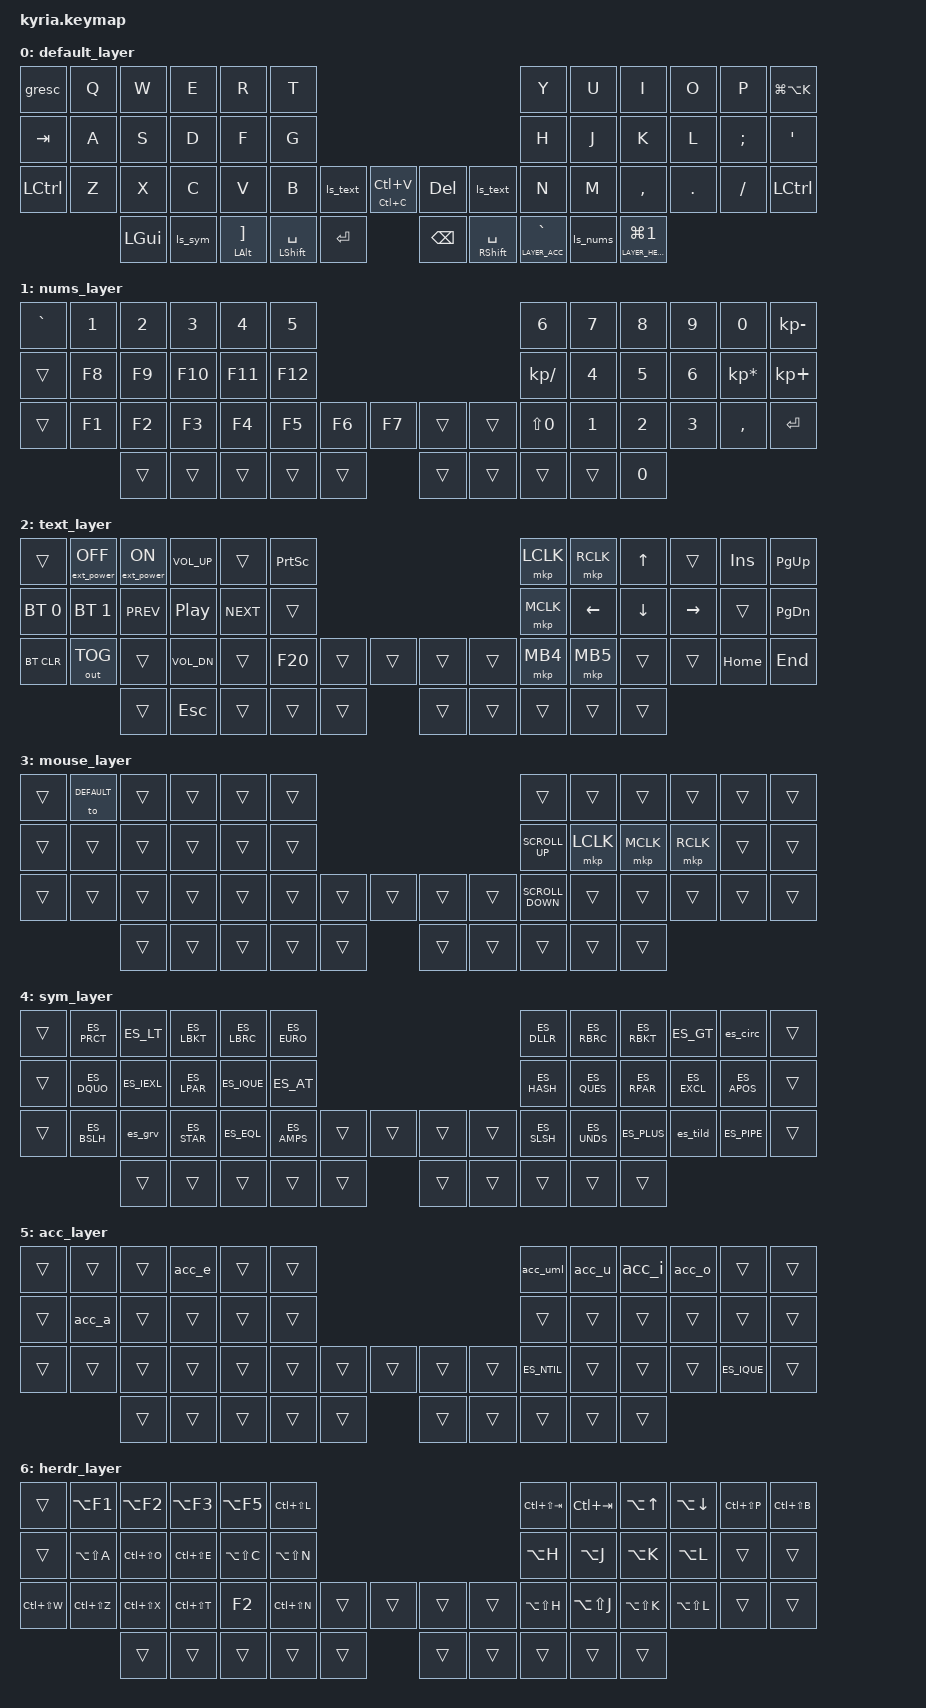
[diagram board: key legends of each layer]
#define DEFAULT 0
// Lo que sale con la distribución española del sistema (entre paréntesis, el keycode US).
// MUTE = Win+Alt+K: silencia/activa el micro de la llamada de Teams aunque Teams no esté delante (sustituye a ç, que no se usa).
// ---------------------------------------------------------------------------------------------------------------------------------
// | ESC  |  Q  |  W  |  E   |  R  |  T    |                                                      |    Y    |   U   |  I    |  O   |   P   | MUTE  |
// | TAB  |  A  |  S  |  D   |  F  |  G    |                                                      |    H    |   J   |  K    |  L   | ñ(;)  | ´(') |
// | CTRL |  Z  |  X  |  C   |  V  |  B    |  *TEXT        | Pegar/[Copiar]*|    |  DEL  |  *TEXT        |    N    |   M   |  ,    |  .   | -(/)  | CTRL |
//                    | GUI  | *SYM | +[alt]|  SPACE [shift]|  RET         |      |  BKSP |  SPACE [shift]|  º[ACC] | *NUMS | Win+1/[HERDR] |
// Win+1/[HERDR]: tocar = Win+1 (trae herdr-app, anclada la 1ª en la barra de tareas); mantener = capa HERDR.
// Pegar/[Copiar]: tocar = Ctrl+V, mantener 250 ms = Ctrl+C (hold-tap tap-preferred, ticket #8).

#define LAYER_NUMS 1 
// ---------------------------------------------------------------------------------------------------------------------------------
// |       |   1 |   2 |   3  |   4  |   5  |                                        |  6  |   7   |  8   |  9   |   0   |  -    |
// |       |  F8 |  F9 |  F10 |  F11 |  F12 |                                        |  /  |   4   |  5   |  6   |   *   |  +    |
//   (/ * + - van como teclas del teclado numérico: salen bien con la distribución española; = es Shift+0)
// |       |  F1 |  F2 |  F3  |  F4  |  F5  |   F6   |  F7   |      |       |        |  =  |   1   |  2   |  3   |   ,   |  RET  |
//                     |      |      |      |        |       |      |       |        |     |       |  0   |

#define LAYER_TEXT 2
// ---------------------------------------------------------------------------------------------------------------------------------
// |       |     |      | V UP    |       |      |                                         |      |       |   ↑   |     |       |  PGUP |
// |       |     | Prev | PLAY    |  Next |      |                                         |      |   ←   |   ↓   |  →  |       |  PGDN |
// |       |     |      | V DOWN  |       |      |       |      |            |      |      |      |       |       |     |  HOME |  END  |
//                      |         |  ESC  |      |       |      |            |      |      |      |       |       |

#define MOUSE_LAYER 3
// ---------------------------------------------------------------------------------------------------------------------------------
// |       |     |      | V UP    |       |      |                                         |      |       |   ↑   |     |       |  PGUP |
// |       |     | Prev | PLAY    |  Next |      |                                         |      |   ←   |   ↓   |  →  |       |  PGDN |
// |       |     |      | V DOWN  |       |      |       |      |            |      |      |      |       |       |     |  HOME |  END  |
//                      |         |  ESC  |      |       |      |            |      |      |      |       |       |


#define LAYER_SYM 4
// Símbolos (mantener el pulgar izquierdo, la tecla que antes era `).
// Regla: lo que ABRE va en la mano izquierda y lo que CIERRA en la tecla espejo de la derecha.
// ---------------------------------------------------------------------------------------------------------------------------------
// |       |  %  |  <  |  [   |  {  |  €   |                                        |  $  |   }   |  ]   |  >   |   ^   |       |
// |       |  "  |  ¡  |  (   |  ¿  |  @   |                                        |  #  |   ?   |  )   |  !   |   '   |       |
// |       |  \  |  `  |  *   |  =  |  &   |        |       |      |       |        |  /  |   _   |  +   |  ~   |   |   |       |
//                     |      |[SYM] |      |        |       |      |       |        |     |       |      |

#define LAYER_ACC 5
// Acentos (mantener el pulgar º, el antiguo AltGr). Como AltGr en EE. UU.-Internacional,
// pero con Windows en español: una pulsación por letra. Con Shift salen en mayúscula (Á, Ñ, Ü).
// |       |     |      |  é   |     |      |                                        |  ü  |   ú   |  í   |  ó   |       |       |
// |       |  á  |      |      |     |      |                                        |     |       |      |      |       |       |
// |       |     |      |      |     |      |        |       |      |       |        |  ñ  |       |      |      |   ¿   |       |
//                     |      |      |      |        |       |      |       |  [ACC] |     |       |      |

#define LAYER_HERDR 6
// herdr-app (mantener el pulgar exterior derecho). Mismos acordes que keys.json, sin prefijo.
// |       |cabina|muro |equipo|métr.|layout|                                        |tab ← |tab → |agente↑|agente↓|paleta|barra |
// |       |accio.|split→|split↓|frent.|naveg.|                                       |foco ←|foco ↓|foco ↑|foco → |      |      |
// |✕pesta.| zoom |✕panel|+pest.|renom.|+espac.|       |       |      |       |      |mover←|mover↓|mover↑|mover→ |      |      |
//                     |      |      |      |        |       |      |       |        |     |       |      | [HERDR] |
// Acordes: Alt+F1/F2/F3/F5 · Ctrl+Shift+L/O/E/Z/X/T/N/W/P/B · Alt+Shift+A/C/N · F2 · Ctrl+(Shift+)Tab ·
//          Alt+↑/↓ · Alt+H/J/K/L · Alt+Shift+H/J/K/L

#include <behaviors.dtsi>
#include <dt-bindings/zmk/keys.h>
#include <dt-bindings/zmk/bt.h>
#include <dt-bindings/zmk/outputs.h>
#include <dt-bindings/zmk/ext_power.h>
#include <dt-bindings/zmk/pointing.h>
#include "es_keys.h"

// Aviso de capa al PC (ticket #17), para que la lanzadera de mma enseñe la chuleta de la capa activa.
// Con 1, al activar una capa se envía F13 (SYM), F14 (NUMS), F15 (TEXT), F16 (ACC) o F18 (HERDR), y F19 al volver
// a la base. F17 (MOUSE) queda reservada. Con 0, las teclas de capa funcionan como un &mo normal.
// Se deja en 0 hasta que la lanzadera escuche y "se coma" esas teclas: si no, una terminal podría recibirlas
// como texto basura.
#define SENAL_CAPAS 0
#if SENAL_CAPAS
#define SENAL(tecla) , <&macro_tap &kp tecla>
#else
#define SENAL(tecla)
#endif





/ {
  behaviors {
        hm: homerow_mods {
            compatible = "zmk,behavior-hold-tap";
            #binding-cells = <2>;
            tapping_term_ms = <175>;
            flavor = "balanced";
            bindings = <&kp>, <&kp>;
        };

        // Mod-tap para teclas de pulgar que se escriben mucho (Espacio, + y º).
        // - balanced: solo es modificador si la otra tecla se pulsa Y se suelta
        //   mientras esta sigue pulsada. Al teclear rápido (rodando) sale el tap.
        // - require-prior-idle-ms: si se venía tecleando hace < 125 ms, siempre tap.
        //   Evita "poderEscribir" (espacio convertido en Shift).
        // - Sin quick-tap-ms a propósito: así ". " + mantener espacio + letra
        //   sigue dando mayúscula.
        smt: safe_mod_tap {
            compatible = "zmk,behavior-hold-tap";
            #binding-cells = <2>;
            flavor = "balanced";
            tapping-term-ms = <200>;
            require-prior-idle-ms = <125>;
            bindings = <&kp>, <&kp>;
        };

        // Pulgar º: pulsado = º; mantenido + otra tecla = capa de acentos.
        // balanced y sin require-prior-idle: así funciona en mitad de palabra ("canción").
        acc: acc_layer_tap {
            compatible = "zmk,behavior-hold-tap";
            #binding-cells = <2>;
            flavor = "balanced";
            tapping-term-ms = <200>;
            bindings = <&ls_acc>, <&kp>;  // el parámetro de capa se ignora: va dentro de ls_acc
        };

        // Pulgar exterior derecho: tocar = Win+1 (pone delante herdr-app, la 1ª de la barra de tareas);
        // mantener + otra tecla = capa HERDR. Mismo criterio que acc.
        hrd: herdr_layer_tap {
            compatible = "zmk,behavior-hold-tap";
            #binding-cells = <2>;
            flavor = "balanced";
            tapping-term-ms = <200>;
            bindings = <&ls_herdr>, <&kp>;  // el parámetro de capa se ignora: va dentro de ls_herdr
        };

        // Pegar/copiar (ticket #8): tap-preferred = solo es "mantener" si pasan 250 ms,
        // aunque se pulse otra tecla antes. Así un toque rápido nunca copia por error.
        cpy: copy_paste {
            compatible = "zmk,behavior-hold-tap";
            #binding-cells = <2>;
            flavor = "tap-preferred";
            tapping-term-ms = <250>;
            bindings = <&kp>, <&kp>;
        };
    };
        
	
  macros {
        // Teclas muertas del español (` ^ ~): se envía la tecla + Espacio para que salgan solas.
        es_grv: es_grave {
            compatible = "zmk,behavior-macro";
            #binding-cells = <0>;
            bindings = <&kp ES_DGRV &kp SPACE>;
        };
        es_circ: es_circumflex {
            compatible = "zmk,behavior-macro";
            #binding-cells = <0>;
            bindings = <&kp ES_DCIR &kp SPACE>;
        };
        es_tild: es_tilde {
            compatible = "zmk,behavior-macro";
            #binding-cells = <0>;
            bindings = <&kp ES_DTIL &kp SPACE>;
        };

        // Vocales con tilde: ´ + vocal. Con Shift, el mod-morph quita el Shift para la ´
        // (si no, Shift+´ sería ¨) y lo pone solo en la vocal: Á É Í Ó Ú.
        acc_a_lo: acc_a_lo {
            compatible = "zmk,behavior-macro";
            #binding-cells = <0>;
            wait-ms = <5>;
            tap-ms = <5>;
            bindings = <&kp ES_ACUT &kp A>;
        };
        acc_a_up: acc_a_up {
            compatible = "zmk,behavior-macro";
            #binding-cells = <0>;
            wait-ms = <5>;
            tap-ms = <5>;
            bindings = <&kp ES_ACUT &kp LS(A)>;
        };
        acc_a: acc_a {
            compatible = "zmk,behavior-mod-morph";
            #binding-cells = <0>;
            bindings = <&acc_a_lo>, <&acc_a_up>;
            mods = <(MOD_LSFT|MOD_RSFT)>;
        };
        acc_e_lo: acc_e_lo {
            compatible = "zmk,behavior-macro";
            #binding-cells = <0>;
            wait-ms = <5>;
            tap-ms = <5>;
            bindings = <&kp ES_ACUT &kp E>;
        };
        acc_e_up: acc_e_up {
            compatible = "zmk,behavior-macro";
            #binding-cells = <0>;
            wait-ms = <5>;
            tap-ms = <5>;
            bindings = <&kp ES_ACUT &kp LS(E)>;
        };
        acc_e: acc_e {
            compatible = "zmk,behavior-mod-morph";
            #binding-cells = <0>;
            bindings = <&acc_e_lo>, <&acc_e_up>;
            mods = <(MOD_LSFT|MOD_RSFT)>;
        };
        acc_i_lo: acc_i_lo {
            compatible = "zmk,behavior-macro";
            #binding-cells = <0>;
            wait-ms = <5>;
            tap-ms = <5>;
            bindings = <&kp ES_ACUT &kp I>;
        };
        acc_i_up: acc_i_up {
            compatible = "zmk,behavior-macro";
            #binding-cells = <0>;
            wait-ms = <5>;
            tap-ms = <5>;
            bindings = <&kp ES_ACUT &kp LS(I)>;
        };
        acc_i: acc_i {
            compatible = "zmk,behavior-mod-morph";
            #binding-cells = <0>;
            bindings = <&acc_i_lo>, <&acc_i_up>;
            mods = <(MOD_LSFT|MOD_RSFT)>;
        };
        acc_o_lo: acc_o_lo {
            compatible = "zmk,behavior-macro";
            #binding-cells = <0>;
            wait-ms = <5>;
            tap-ms = <5>;
            bindings = <&kp ES_ACUT &kp O>;
        };
        acc_o_up: acc_o_up {
            compatible = "zmk,behavior-macro";
            #binding-cells = <0>;
            wait-ms = <5>;
            tap-ms = <5>;
            bindings = <&kp ES_ACUT &kp LS(O)>;
        };
        acc_o: acc_o {
            compatible = "zmk,behavior-mod-morph";
            #binding-cells = <0>;
            bindings = <&acc_o_lo>, <&acc_o_up>;
            mods = <(MOD_LSFT|MOD_RSFT)>;
        };
        acc_u_lo: acc_u_lo {
            compatible = "zmk,behavior-macro";
            #binding-cells = <0>;
            wait-ms = <5>;
            tap-ms = <5>;
            bindings = <&kp ES_ACUT &kp U>;
        };
        acc_u_up: acc_u_up {
            compatible = "zmk,behavior-macro";
            #binding-cells = <0>;
            wait-ms = <5>;
            tap-ms = <5>;
            bindings = <&kp ES_ACUT &kp LS(U)>;
        };
        acc_u: acc_u {
            compatible = "zmk,behavior-mod-morph";
            #binding-cells = <0>;
            bindings = <&acc_u_lo>, <&acc_u_up>;
            mods = <(MOD_LSFT|MOD_RSFT)>;
        };
        // ü: ¨ (Shift+´) + u. Si se mantiene Shift, sale Ü.
        acc_uml: acc_u_umlaut {
            compatible = "zmk,behavior-macro";
            #binding-cells = <0>;
            wait-ms = <5>;
            tap-ms = <5>;
            bindings = <&kp LS(ES_ACUT) &kp U>;
        };

        // Teclas de capa: &mo + aviso al PC (F13–F16 al entrar, F19 al salir) si SENAL_CAPAS = 1.
        ls_sym: ls_sym {
            compatible = "zmk,behavior-macro";
            #binding-cells = <0>;
            wait-ms = <0>;
            tap-ms = <5>;
            bindings = <&macro_press &mo LAYER_SYM> SENAL(F13), <&macro_pause_for_release>, <&macro_release &mo LAYER_SYM> SENAL(F19);
        };
        ls_nums: ls_nums {
            compatible = "zmk,behavior-macro";
            #binding-cells = <0>;
            wait-ms = <0>;
            tap-ms = <5>;
            bindings = <&macro_press &mo LAYER_NUMS> SENAL(F14), <&macro_pause_for_release>, <&macro_release &mo LAYER_NUMS> SENAL(F19);
        };
        ls_text: ls_text {
            compatible = "zmk,behavior-macro";
            #binding-cells = <0>;
            wait-ms = <0>;
            tap-ms = <5>;
            bindings = <&macro_press &mo LAYER_TEXT> SENAL(F15), <&macro_pause_for_release>, <&macro_release &mo LAYER_TEXT> SENAL(F19);
        };
        ls_acc: ls_acc {
            compatible = "zmk,behavior-macro";
            #binding-cells = <0>;
            wait-ms = <0>;
            tap-ms = <5>;
            bindings = <&macro_press &mo LAYER_ACC> SENAL(F16), <&macro_pause_for_release>, <&macro_release &mo LAYER_ACC> SENAL(F19);
        };
        ls_herdr: ls_herdr {
            compatible = "zmk,behavior-macro";
            #binding-cells = <0>;
            wait-ms = <0>;
            tap-ms = <5>;
            bindings = <&macro_press &mo LAYER_HERDR> SENAL(F18), <&macro_pause_for_release>, <&macro_release &mo LAYER_HERDR> SENAL(F19);
        };
    };

	keymap {
	
		compatible = "zmk,keymap";
	
		default_layer {
			bindings = <
	&gresc  &kp Q &kp W &kp E &kp R &kp T                                                                &kp Y         &kp U          &kp I    &kp O   &kp P    &kp LG(LA(K))
	&kp TAB  &kp A &kp S &kp D &kp F &kp G                                                               &kp H         &kp J          &kp K    &kp L   &kp SEMI &kp SQT
	&kp LCTRL &kp Z &kp X &kp C &kp V &kp B         &ls_text   &cpy LC(C) LC(V)  &kp DEL  &ls_text &kp N         &kp M          &kp COMMA &kp DOT &kp FSLH &kp LCTRL 
	               &kp LGUI &ls_sym &smt LALT RBKT &smt LSHFT SPACE   &kp RET       	 &kp BSPC &smt RSHFT SPACE   &acc LAYER_ACC GRAVE &ls_nums &hrd LAYER_HERDR LG(N1)
			>;
		};

		nums_layer {
			bindings = <
	&kp GRAVE &kp N1 &kp N2 &kp N3 &kp N4 &kp N5                                           &kp N6  &kp N7  &kp N8    &kp N9   &kp N0    &kp KP_MINUS  
	&trans   &kp F8    &kp F9    &kp F10   &kp F11   &kp F12                                             &kp KP_DIVIDE   &kp N4  &kp N5    &kp N6   &kp KP_MULTIPLY     &kp KP_PLUS  
	&trans   &kp F1    &kp F2    &kp F3    &kp F4    &kp F5    &kp F6  &kp F7         &trans    &trans   &kp LS(N0)    &kp N1  &kp N2    &kp N3   &kp COMMA     &kp RET   
	                   &trans    &trans   &trans    &trans    &trans  				&trans         &trans    &trans   &trans     &kp N0     
			>;
		};
		
		text_layer {
			bindings = <
	&trans            &ext_power EP_OFF    &ext_power EP_ON     &kp C_VOL_UP   &trans     &kp PSCRN                                                 &mkp LCLK     &mkp RCLK    &kp UP   &trans     &kp INS    &kp PG_UP   
	&bt BT_SEL 0  &bt BT_SEL 1   &kp C_PREV &kp C_PLAY_PAUSE   &kp C_NEXT &trans                                                 &mkp MCLK &kp LEFT  &kp DOWN   &kp RIGHT  &trans    &kp PG_DN  
	&bt BT_CLR    &out OUT_TOG    &trans     &kp C_VOL_DN   &trans     &kp F20    &trans    &trans         &trans    &trans    &mkp MB4  &mkp MB5   &trans     &trans    &kp HOME  &kp END 
	                               &trans       &kp ESC    &trans      &trans    &trans         &trans    &trans    &trans  &trans    &trans     
			>; 
		 };
			
		mouse_layer {
			bindings = <
	&trans   &to DEFAULT  &trans    &trans   &trans    &trans                                         &trans        &trans         &trans    &trans   &trans   &trans
	&trans   &trans    &trans  &trans   &trans  &trans                                       &kp K_SCROLL_UP        &mkp LCLK         &mkp MCLK    &mkp RCLK   &trans &trans
	&trans   &trans   &trans    &trans   &trans  &trans    &trans  &trans               	&trans  &trans &kp K_SCROLL_DOWN    &trans      &trans          &trans &trans &trans  
						&trans &trans   &trans    &trans   &trans               &trans  &trans    &trans   &trans    &trans     
			>;	
					
		};
		sym_layer {
			bindings = <
	&trans   &kp ES_PRCT &kp ES_LT   &kp ES_LBKT &kp ES_LBRC &kp ES_EURO                                     &kp ES_DLLR &kp ES_RBRC &kp ES_RBKT &kp ES_GT   &es_circ    &trans
	&trans   &kp ES_DQUO &kp ES_IEXL &kp ES_LPAR &kp ES_IQUE &kp ES_AT                                       &kp ES_HASH &kp ES_QUES &kp ES_RPAR &kp ES_EXCL &kp ES_APOS &trans
	&trans   &kp ES_BSLH &es_grv     &kp ES_STAR &kp ES_EQL  &kp ES_AMPS  &trans  &trans    &trans  &trans  &kp ES_SLSH &kp ES_UNDS &kp ES_PLUS &es_tild    &kp ES_PIPE &trans
	                     &trans      &trans      &trans      &trans       &trans            &trans  &trans  &trans      &trans      &trans
			>;
		};
		acc_layer {
			bindings = <
	&trans        &trans        &trans        &acc_e        &trans        &trans        &acc_uml      &acc_u        &acc_i        &acc_o        &trans        &trans
	&trans        &acc_a        &trans        &trans        &trans        &trans        &trans        &trans        &trans        &trans        &trans        &trans
	&trans        &trans        &trans        &trans        &trans        &trans        &trans        &trans        &trans        &trans        &kp ES_NTIL   &trans        &trans        &trans        &kp ES_IQUE   &trans
	&trans        &trans        &trans        &trans        &trans        &trans        &trans        &trans        &trans        &trans
			>;
		};
		herdr_layer {
			bindings = <
	&trans           &kp LA(F1)       &kp LA(F2)       &kp LA(F3)       &kp LA(F5)       &kp LC(LS(L))                                     &kp LC(LS(TAB))  &kp LC(TAB)      &kp LA(UP)       &kp LA(DOWN)     &kp LC(LS(P))    &kp LC(LS(B))
	&trans           &kp LA(LS(A))    &kp LC(LS(O))    &kp LC(LS(E))    &kp LA(LS(C))    &kp LA(LS(N))                                     &kp LA(H)        &kp LA(J)        &kp LA(K)        &kp LA(L)        &trans           &trans
	&kp LC(LS(W))    &kp LC(LS(Z))    &kp LC(LS(X))    &kp LC(LS(T))    &kp F2           &kp LC(LS(N))    &trans  &trans  &trans  &trans   &kp LA(LS(H))    &kp LA(LS(J))    &kp LA(LS(K))    &kp LA(LS(L))    &trans           &trans
	                                  &trans           &trans           &trans           &trans           &trans  &trans  &trans  &trans   &trans           &trans
			>;
		};
	};
};
